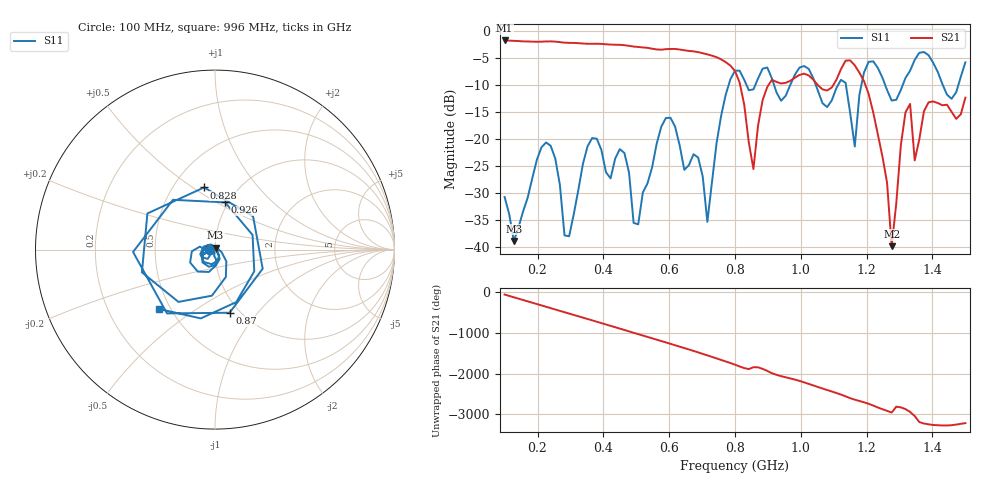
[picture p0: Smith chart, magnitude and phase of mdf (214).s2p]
! NanoVNA-App
! Date: 2025-09-25 15:40:05
! Start: 100MHz Stop: 1,5GHz Points: 101
! S-Parameter data: F S11 S21 S12 S22
# Hz S RI R 50
!  Frequency  S11_Real  S11_Imag  S21_Real  S21_Imag  S12_Real  S12_Imag  S22_Real  S22_Imag
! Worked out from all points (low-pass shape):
!   101 points, 100 MHz to 1.5 GHz, reference 50 ohm
!   highest |S21| = -1.80 dB at 100 MHz (marker M1); lowest = -39.9 dB at 1.276 GHz (marker M2)
!   |S21| within 3 dB of the highest: start of sweep to 739.2 MHz
!   lowest |S11| = -38.9 dB at 128 MHz (marker M3), VSWR 1.02, Z = 50.3 + j1.08 ohm
!   |S11| at or under -10 dB: start of sweep to 780.9 MHz; 918.4 MHz to 968.1 MHz (49.69 MHz wide, 5.27 % of centre); 1.045 GHz to 1.114 GHz (68.49 MHz wide, 6.35 % of centre) (the widest 3 of 7)
!   S12 and S22 are empty: the file has one direction only
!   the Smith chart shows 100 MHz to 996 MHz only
!   S11 on the Smith chart (normalised r, x): 100 MHz: 0.94, -0.01; 828 MHz: 0.70, +0.56; 870 MHz: 0.90, -0.73; 926 MHz: 0.97, +0.55; 996 MHz: 0.43, -0.36
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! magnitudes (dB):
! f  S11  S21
! 100 MHz  -30.8  -1.8
! 128 MHz  -38.9  -1.9
! 212 MHz  -21.6  -2.0
! 282 MHz  -37.9  -2.2
! 338 MHz  -24.6  -2.4
! 464 MHz  -22.6  -2.7
! 506 MHz  -35.8  -3.0
! 576 MHz  -17.8  -3.5
! 716 MHz  -35.4  -4.4
! 800 MHz  -7.4  -7.5
! 828 MHz  -9.1  -13.7
! 856 MHz  -10.9  -25.6
! 870 MHz  -8.9  -17.6
! 926 MHz  -11.4  -9.5
! 996 MHz  -6.8  -8.2
! 1.038 GHz  -8.8  -9.1
! 1.164 GHz  -21.4  -6.4
! 1.192 GHz  -7.7  -9.4
! 1.276 GHz  -12.9  -39.9
! 1.318 GHz  -8.7  -15.1
! 1.346 GHz  -5.4  -24.0
! 1.5 GHz  -5.9  -12.4
